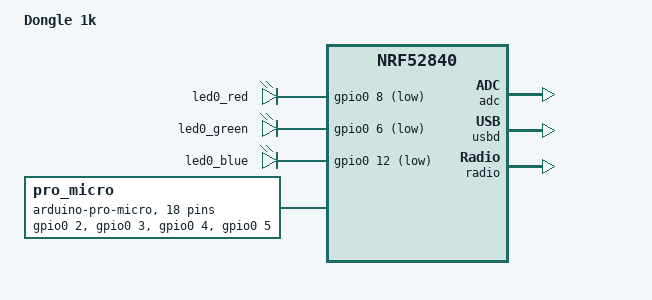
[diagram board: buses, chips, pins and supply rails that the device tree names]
/dts-v1/;
#include <nordic/nrf52840_qiaa.dtsi>
#include <dt-bindings/led/led.h>

/ {
	model = "Dongle 1k";
	compatible = "holyiot,dongle";

	chosen {
		zephyr,code-partition = &code_partition;
		zephyr,sram = &sram0;
		zephyr,flash = &flash0;
		zephyr,console = &cdc_acm_console_uart;
	};

	aliases {
		led-red = &led0_red;
		led-green = &led0_green;
		led-blue = &led0_blue;
	};

	leds {
		compatible = "gpio-leds";
		status = "okay";
		led0_red: led_0 {
			gpios = <&gpio0 8 GPIO_ACTIVE_LOW>;
		};
		led0_green: led_1 {
			gpios = <&gpio0 6 GPIO_ACTIVE_LOW>;
		};
		led0_blue: led_2 {
			gpios = <&gpio0 12 GPIO_ACTIVE_LOW>;
		};
	};

	/*
	 * Dummy pro_micro connector so charybdis.dtsi's kscan0 compiles.
	 * kscan0 is disabled in the charybdis_esb overlay; these pins are never
	 * actually configured at runtime.
	 */
	pro_micro: connector {
		compatible = "arduino-pro-micro";
		#gpio-cells = <2>;
		gpio-map-mask = <0xffffffff 0xffffffc0>;
		gpio-map-pass-thru = <0 0x3f>;
		gpio-map
			= <0  0 &gpio0 2  0>
			, <1  0 &gpio0 3  0>
			, <2  0 &gpio0 4  0>
			, <3  0 &gpio0 5  0>
			, <4  0 &gpio0 6  0>
			, <5  0 &gpio0 7  0>
			, <6  0 &gpio0 8  0>
			, <7  0 &gpio0 9  0>
			, <8  0 &gpio0 10 0>
			, <9  0 &gpio0 11 0>
			, <10 0 &gpio0 12 0>
			, <14 0 &gpio0 14 0>
			, <15 0 &gpio0 15 0>
			, <16 0 &gpio0 16 0>
			, <18 0 &gpio0 19 0>
			, <19 0 &gpio0 20 0>
			, <20 0 &gpio0 21 0>
			, <21 0 &gpio0 22 0>
			;
	};
};

&adc {
	status = "okay";
};

&gpiote {
	status = "okay";
};

&gpio0 {
	status = "okay";
};

zephyr_udc0: &usbd {
	status = "okay";

	cdc_acm_console_uart: cdc_acm_console_uart {
		compatible = "zephyr,cdc-acm-uart";
	};
};

&radio {
	status = "okay";
};

&flash0 {
	partitions {
		compatible = "fixed-partitions";
		#address-cells = <1>;
		#size-cells = <1>;

		sd_partition: partition@0 {
			reg = <0x0 DT_SIZE_K(4)>;
		};

		code_partition: partition@1000 {
			reg = <DT_SIZE_K(4) DT_SIZE_K(876)>;
		};

		storage_partition: partition@dc000 {
			reg = <0x000dc000 DT_SIZE_K(16)>;
		};
	};
};
